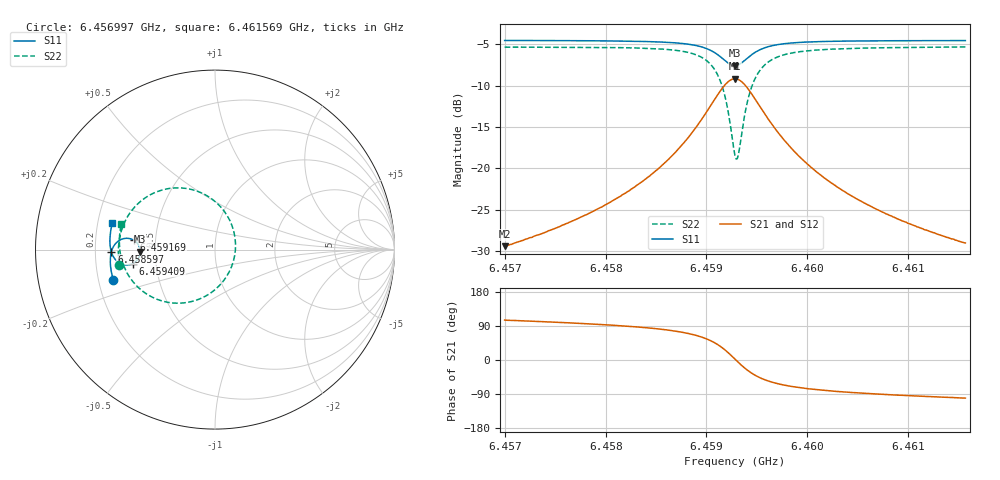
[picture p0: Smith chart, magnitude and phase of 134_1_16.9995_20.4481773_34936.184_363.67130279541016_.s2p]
#  HZ  S  RI  R  50.00
! Rohde & Schwarz Vector Network Analyzer
! Rohde-Schwarz,ZNB20-2Port,1311601062101988,3.16
! Created: UTC 3/20/2024, 10:58:03 PM
! freq[Hz]  re:S11  im:S11  re:S21  im:S21  re:S12  im:S12  re:S22  im:S22
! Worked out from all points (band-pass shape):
!   401 points, 6.456997 GHz to 6.461569 GHz, reference 50 ohm
!   highest |S21| = -9.18 dB at 6.459283 GHz (marker M1); lowest = -29.4 dB at 6.456997 GHz (marker M2)
!   |S21| within 3 dB of the highest: 6.459054 GHz to 6.459511 GHz (456.9 kHz wide, 0.00707 % of centre)
!   lowest |S11| = -7.6 dB at 6.459283 GHz (marker M3), VSWR 2.43, Z = 20.6 - j0.558 ohm
!   |S11| at or under -10 dB: nowhere
!   |S22| runs from -18.9 to -5.3 dB; largest |S21 - S12| = 0.014
!   S11 on the Smith chart (normalised r, x): 6.456997 GHz: 0.26, -0.14; 6.458597 GHz: 0.27, -0.01; 6.459169 GHz: 0.37, +0.05; 6.459409 GHz: 0.37, -0.07; 6.461569 GHz: 0.26, +0.12
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6.4569973e9  -0.5665 -0.1718  -0.00893 0.0327  -0.00709 0.0326  -0.533 -0.0832
6.457763e9  -0.5805 -0.1049  -0.00563 0.0507  -0.00306 0.0501  -0.5383 0.00667
6.4582087e9  -0.5832 -0.0599  0.000925 0.0718  0.00422 0.0703  -0.5289 0.0784
6.4585287e9  -0.5795 -0.0212  0.0143 0.0994  0.0182 0.0966  -0.5042 0.1518
6.4585973e9  -0.5772 -0.0116  0.0196 0.1078  0.0238 0.1045  -0.4941 0.1718
6.4587916e9  -0.5646 0.0189  0.0464 0.1388  0.0505 0.1339  -0.4441 0.2412
6.4589401e9  -0.5418 0.0454  0.0921 0.1694  0.0952 0.1629  -0.3602 0.3057
6.4590773e9  -0.4976 0.0628  0.1797 0.1864  0.1807 0.1787  -0.2 0.344
6.4591687e9  -0.4527 0.0524  0.2703 0.1547  0.2704 0.1487  -0.0328 0.2928
6.4592373e9  -0.4234 0.0201  0.331 0.0821  0.3332 0.0769  0.0826 0.1623
6.459283e9  -0.4164 -0.0112  0.3473 0.0138  0.351 0.00688  0.1142 0.0346
6.4592944e9  -0.4168 -0.0194  0.3469 -0.00411  0.3509 -0.0117  0.1138 0.000862
6.4593173e9  -0.4203 -0.0351  0.3412 -0.0389  0.3452 -0.0481  0.1024 -0.0651
6.459363e9  -0.4362 -0.0614  0.3124 -0.0991  0.3148 -0.111  0.044 -0.1784
6.4594087e9  -0.4582 -0.078  0.2702 -0.1401  0.2693 -0.1534  -0.0418 -0.253
6.4595001e9  -0.5019 -0.085  0.185 -0.1712  0.1788 -0.1829  -0.2111 -0.2985
6.4596487e9  -0.5462 -0.0645  0.0967 -0.1575  0.0882 -0.1635  -0.3788 -0.2486
6.4598087e9  -0.5679 -0.0368  0.0517 -0.1292  0.0441 -0.132  -0.4591 -0.1763
6.4600487e9  -0.5808 -0.00136  0.0224 -0.0978  0.0166 -0.0982  -0.5071 -0.0939
6.4604144e9  -0.5855 0.0421  0.00563 -0.0694  0.00176 -0.0689  -0.5292 -0.0105
6.4608144e9  -0.5837 0.0822  -0.00144 -0.052  -0.00418 -0.0514  -0.5329 0.0533
6.4615687e9  -0.5719 0.1493  -0.00649 -0.0348  -0.00814 -0.0339  -0.5218 0.1426
